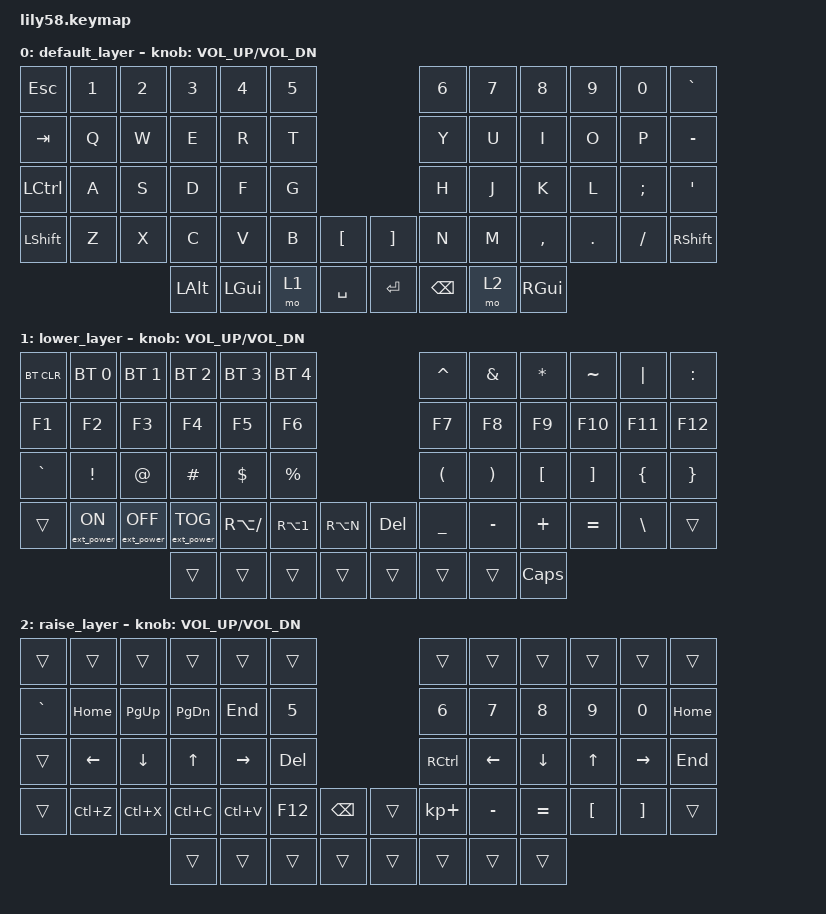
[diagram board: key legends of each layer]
/*
 * Copyright (c) 2020 The ZMK Contributors
 *
 * SPDX-License-Identifier: MIT
 */

#include <behaviors.dtsi>
#include <dt-bindings/zmk/bt.h>
#include <dt-bindings/zmk/ext_power.h>
#include <dt-bindings/zmk/keys.h>

/ {
    keymap {
        compatible = "zmk,keymap";

        default_layer {
            // Pulgar izquierdo: Lower. Pulgar derecho: Raise.
            bindings = <
                &kp ESC    &kp N1  &kp N2  &kp N3    &kp N4    &kp N5                         &kp N6         &kp N7  &kp N8     &kp N9   &kp N0    &kp GRAVE
                &kp TAB    &kp Q   &kp W   &kp E     &kp R     &kp T                          &kp Y          &kp U   &kp I      &kp O    &kp P     &kp MINUS
                &kp LCTRL  &kp A   &kp S   &kp D     &kp F     &kp G                          &kp H          &kp J   &kp K      &kp L    &kp SEMI  &kp SQT
                &kp LSHFT  &kp Z   &kp X   &kp C     &kp V     &kp B   &kp LBKT     &kp RBKT  &kp N          &kp M   &kp COMMA  &kp DOT  &kp FSLH  &kp RSHFT
                                           &kp LALT  &kp LGUI  &mo 1   &kp SPACE    &kp RET   &kp BACKSPACE  &mo 2   &kp RGUI
            >;

            sensor-bindings = <&inc_dec_kp C_VOL_UP C_VOL_DN>;
        };

        lower_layer {
            // Bluetooth a la izquierda, símbolos a la derecha y F1-F12 en la fila Q-P.
            // EE. UU. Internacional: V = ¿, B = ¡, corchete interior izquierdo = ñ.
            // El pulgar derecho externo activa o desactiva Bloq Mayús.
            bindings = <
                &bt BT_CLR  &bt BT_SEL 0      &bt BT_SEL 1       &bt BT_SEL 2       &bt BT_SEL 3   &bt BT_SEL 4                            &kp CARET  &kp AMPS   &kp ASTRK  &kp TILDE  &kp PIPE  &kp COLON
                &kp F1      &kp F2            &kp F3             &kp F4             &kp F5         &kp F6                                  &kp F7     &kp F8     &kp F9     &kp F10    &kp F11   &kp F12
                &kp GRAVE   &kp EXCL          &kp AT             &kp HASH           &kp DOLLAR     &kp PRCNT                               &kp LPAR   &kp RPAR   &kp LBKT   &kp RBKT   &kp LBRC  &kp RBRC
                &trans      &ext_power EP_ON  &ext_power EP_OFF  &ext_power EP_TOG  &kp RA(FSLH)   &kp RA(N1)   &kp RA(N)       &kp DEL   &kp UNDER  &kp MINUS  &kp PLUS   &kp EQUAL  &kp BSLH  &trans
                                                                 &trans             &trans         &trans       &trans          &trans    &trans     &trans     &kp CAPSLOCK
            >;

            sensor-bindings = <&inc_dec_kp C_VOL_UP C_VOL_DN>;
        };

        raise_layer {
            // A S D F: flechas. Q W E R: Inicio, Re Pág, Av Pág y Fin.
            // Z X C V: deshacer, cortar, copiar y pegar.
            bindings = <
                &trans     &trans     &trans      &trans      &trans      &trans                        &trans     &trans     &trans     &trans    &trans     &trans
                &kp GRAVE  &kp HOME   &kp PG_UP   &kp PG_DN   &kp END     &kp N5                        &kp N6     &kp N7     &kp N8     &kp N9    &kp N0     &kp HOME
                &trans     &kp LEFT   &kp DOWN    &kp UP      &kp RIGHT   &kp DEL                       &kp RCTRL  &kp LEFT   &kp DOWN   &kp UP    &kp RIGHT  &kp END
                &trans     &kp LC(Z)  &kp LC(X)   &kp LC(C)   &kp LC(V)   &kp F12  &kp BSPC   &trans   &kp KP_PLUS &kp MINUS  &kp EQUAL  &kp LBKT  &kp RBKT   &trans
                                                  &trans      &trans      &trans   &trans     &trans   &trans     &trans     &trans
            >;

            sensor-bindings = <&inc_dec_kp C_VOL_UP C_VOL_DN>;
        };
    };
};
